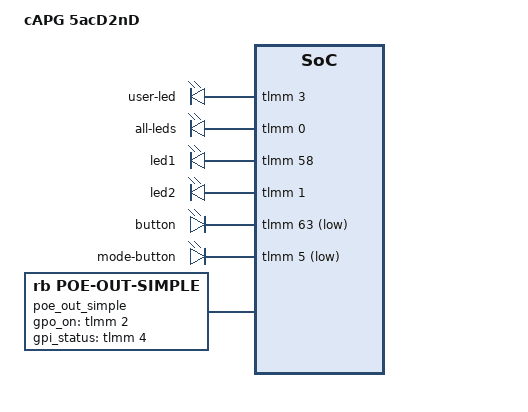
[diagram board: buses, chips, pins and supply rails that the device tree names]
/dts-v1/;
#include "ipq40xx.dtsi"

/ {
	model = "cAPG 5acD2nD";

	leds {
		compatible = "leds-rb";
		user-led {
			gpios = <&tlmm 3 GPIO_ACTIVE_HIGH>;
		};
		all-leds {
			gpios = <&tlmm 0 GPIO_ACTIVE_HIGH>;
			default-state = "keep";
		};
		led1 {
			gpios = <&tlmm 58 GPIO_ACTIVE_HIGH>;
		};
		led2 {
			gpios = <&tlmm 1 GPIO_ACTIVE_HIGH>;
		};
		button {
			gpios = <&tlmm 63 GPIO_ACTIVE_LOW>;
			default-state = "input";
		};
		mode-button {
			gpios = <&tlmm 5 GPIO_ACTIVE_LOW>;
			default-state = "input";
		};
	};
	poe_out_simple: poe-out-simple {
		compatible = "rb,poe-out-simple";
		eth_port = <1>;
		gpo_on = <&tlmm 2 GPIO_ACTIVE_HIGH>;
		gpi_status = <&tlmm 4 GPIO_ACTIVE_HIGH>;
		status = "ok";
	};
};

&edma {
	port_map = <4 3(-1)>;
};
